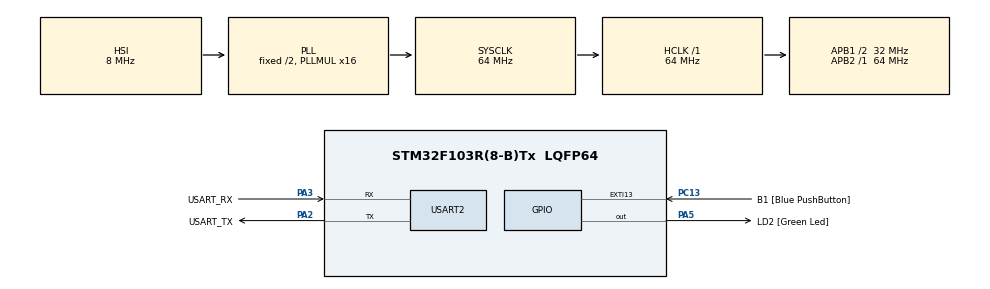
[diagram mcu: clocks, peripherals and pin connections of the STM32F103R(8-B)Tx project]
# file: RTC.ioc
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Mcu.Family=STM32F1
Mcu.Name=STM32F103R(8-B)Tx
Mcu.Package=LQFP64
NVIC.PriorityGroup=NVIC_PRIORITYGROUP_4
NVIC.RTC_Alarm_IRQn=true\:0\:0\:false\:false\:true\:true\:true
PA13.GPIO_Label=TMS
PA13.Mode=Serial_Wire
PA13.Signal=SYS_JTMS-SWDIO
PA14.GPIO_Label=TCK
PA14.Mode=Serial_Wire
PA14.Signal=SYS_JTCK-SWCLK
PA2.GPIO_Label=USART_TX
PA2.GPIO_Mode=GPIO_MODE_AF_PP
PA2.GPIO_PuPd=GPIO_NOPULL
PA2.GPIO_Speed=GPIO_SPEED_FREQ_LOW
PA2.Mode=Asynchronous
PA2.Signal=USART2_TX
PA3.GPIO_Label=USART_RX
PA3.GPIO_Mode=GPIO_MODE_AF_PP
PA3.GPIO_PuPd=GPIO_NOPULL
PA3.GPIO_Speed=GPIO_SPEED_FREQ_LOW
PA3.Mode=Asynchronous
PA3.Signal=USART2_RX
PA5.GPIO_Label=LD2 [Green Led]
PA5.GPIO_ModeDefaultOutputPP=GPIO_MODE_OUTPUT_PP
PA5.GPIO_PuPd=GPIO_NOPULL
PA5.GPIO_Speed=GPIO_SPEED_FREQ_LOW
PA5.Signal=GPIO_Output
PB3.GPIO_Label=SWO
PB3.Signal=SYS_JTDO-TRACESWO
PC13-TAMPER-RTC.GPIO_Label=B1 [Blue PushButton]
PC13-TAMPER-RTC.GPIO_PuPd=GPIO_NOPULL
PC13-TAMPER-RTC.Signal=GPXTI13
PC14-OSC32_IN.Mode=LSE-External-Oscillator
PC14-OSC32_IN.Signal=RCC_OSC32_IN
PC15-OSC32_OUT.Mode=LSE-External-Oscillator
PC15-OSC32_OUT.Signal=RCC_OSC32_OUT
PD0-OSC_IN.Signal=RCC_OSC_IN
PD1-OSC_OUT.Signal=RCC_OSC_OUT
ProjectManager.HeapSize=0x200
ProjectManager.StackSize=0x400
ProjectManager.TargetToolchain=STM32CubeIDE
RCC.AHBFreq_Value=64000000
RCC.APB1CLKDivider=RCC_HCLK_DIV2
RCC.APB1Freq_Value=32000000
RCC.APB1TimFreq_Value=64000000
RCC.APB2Freq_Value=64000000
RCC.APB2TimFreq_Value=64000000
RCC.HCLKFreq_Value=64000000
RCC.PLLMUL=RCC_PLL_MUL16
RCC.RTCClockSelection=RCC_RTCCLKSOURCE_LSE
RCC.SYSCLKFreq_VALUE=64000000
RCC.SYSCLKSource=RCC_SYSCLKSOURCE_PLLCLK
RCC.USBFreq_Value=64000000
RTC.Date=22
RTC.Hours=0
RTC.Minutes=0
RTC.Month=RTC_MONTH_DECEMBER
RTC.WeekDay=RTC_WEEKDAY_TUESDAY
RTC.Year=20
USART2.VirtualMode=VM_ASYNC
VP_RTC_VS_RTC_Activate.Mode=RTC_Enabled
VP_RTC_VS_RTC_Calendar.Mode=RTC_Calendar
board=NUCLEO-F103RB

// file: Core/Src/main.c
/* USER CODE BEGIN Header */
/**
  ******************************************************************************
  * @file           : main.c
  * @brief          : Main program body
  ******************************************************************************
  * @attention
  *
  * <h2><center>&copy; Copyright (c) 2020 STMicroelectronics.
  * All rights reserved.</center></h2>
  *
  * This software component is licensed by ST under BSD 3-Clause license,
  * the "License"; You may not use this file except in compliance with the
  * License. You may obtain a copy of the License at:
  *                        opensource.org/licenses/BSD-3-Clause
  *
  ******************************************************************************
  */
/* USER CODE END Header */
#include "main.h"

/* USER CODE BEGIN Includes */
#include <stdio.h>
/* USER CODE END Includes */

/* USER CODE BEGIN PM */
#define RTC_BKP_DR1_VALUE   0x32F2
/* USER CODE END PM */

RTC_HandleTypeDef hrtc;

UART_HandleTypeDef huart2;

void SystemClock_Config(void);
static void MX_GPIO_Init(void);
static void MX_USART2_UART_Init(void);
static void MX_RTC_Init(void);
/* USER CODE BEGIN PFP */
/**
  * @brief  Configure RTC Alarm.
  * @param  None
  * @retval None
  */
static void
RTC_AlarmConfig (void)
{
  printf ("%s\n", __FUNCTION__);

  RTC_TimeTypeDef stimestructure;
  RTC_AlarmTypeDef salarmstructure;

  /*########## Configure the RTC Alarm peripheral ##########*/
  HAL_RTC_GetTime (&hrtc, &stimestructure, RTC_FORMAT_BIN);

  salarmstructure.Alarm = RTC_ALARM_A;
  salarmstructure.AlarmTime.Hours = stimestructure.Hours;
  salarmstructure.AlarmTime.Minutes = stimestructure.Minutes;
  salarmstructure.AlarmTime.Seconds = stimestructure.Seconds + 5;

  if (HAL_RTC_SetAlarm_IT (&hrtc, &salarmstructure, RTC_FORMAT_BIN) != HAL_OK)
    {
      /* Initialization Error */
      Error_Handler ();
    }

  HAL_NVIC_SetPriority (RTC_Alarm_IRQn, 0, 0);
  HAL_NVIC_EnableIRQ (RTC_Alarm_IRQn);
}

/**
  * @brief  Display the current date and time.
  * @param  showtime : pointer to buffer
  * @retval None
  */
static void
RTC_TimeShow (uint8_t *showtime)
{
  RTC_DateTypeDef sdatestructureget;
  RTC_TimeTypeDef stimestructureget;

  /* Get the RTC current Time */
  HAL_RTC_GetTime (&hrtc, &stimestructureget, RTC_FORMAT_BIN);
  /* Get the RTC current Date */
  HAL_RTC_GetDate (&hrtc, &sdatestructureget, RTC_FORMAT_BIN);
  /* Display time Format : hh:mm:ss */
  sprintf ((char*) showtime, "%04d-%02d-%02d %02d:%02d:%02d",
           sdatestructureget.Year + 2000, sdatestructureget.Month, sdatestructureget.Date,
           stimestructureget.Hours, stimestructureget.Minutes, stimestructureget.Seconds);
}
/* USER CODE END PFP */

/* USER CODE BEGIN 0 */
#ifdef __GNUC__
#define PUTCHAR_PROTOTYPE int __io_putchar(int ch)
#else
#define PUTCHAR_PROTOTYPE int fputc(int ch, FILE *f)
#endif /* __GNUC__ */

/**
  * @brief  Retargets the C library printf function to the USART.
  * @param  None
  * @retval None
  */
PUTCHAR_PROTOTYPE
{
  /* Place your implementation of fputc here */
  /* e.g. write a character to the UART2 and Loop until the end of transmission */
  if(ch == '\n')
    HAL_UART_Transmit(&huart2, (uint8_t *)"\r", 1, 0xFFFF);
  HAL_UART_Transmit(&huart2, (uint8_t *)&ch, 1, 0xFFFF);

  return ch;
}

/* USER CODE END 0 */

int main(void)
{

  /* MCU Configuration--------------------------------------------------------*/

  /* Reset of all peripherals, Initializes the Flash interface and the Systick. */
  HAL_Init();

  /* Configure the system clock */
  SystemClock_Config();

  /* Initialize all configured peripherals */
  MX_GPIO_Init();
  MX_USART2_UART_Init();
  MX_RTC_Init();
  /* USER CODE BEGIN 2 */
  printf ("NUCLEO_F103RB RTC P/G\n");
  printf ("SYSCLK Frequency = %d\n", HAL_RCC_GetSysClockFreq());
  printf ("HCLK   Frequency = %d\n", HAL_RCC_GetHCLKFreq());
  printf ("PCLK   Frequency = %d\n", HAL_RCC_GetPCLK1Freq());
  /* USER CODE END 2 */

  /* Infinite loop */
  /* USER CODE BEGIN WHILE */
  /* Check if the Power On Reset flag is set */
  if (__HAL_RCC_GET_FLAG(RCC_FLAG_PORRST) != RESET)
    {
      /* Power on reset occurred */
      printf("Power on reset occurred\n");
    }
  /* Check if Pin Reset flag is set */
  if (__HAL_RCC_GET_FLAG(RCC_FLAG_PINRST) != RESET)
    {
      /* External reset occurred */
      printf("External reset occurred\n");
    }
  /* Clear source Reset Flag */
  __HAL_RCC_CLEAR_RESET_FLAGS();

  /* Alarm Configuration */
  RTC_AlarmConfig();

  /* Buffer used for displaying Time */
  uint8_t aShowTime[50] = {0};

  while (1)
  {
      RTC_TimeShow(aShowTime);
      printf("%s\n", aShowTime);
    /* USER CODE END WHILE */

    /* USER CODE BEGIN 3 */
      HAL_Delay(1000);
      HAL_GPIO_TogglePin(LD2_GPIO_Port, LD2_Pin);
  }
  /* USER CODE END 3 */
}

void SystemClock_Config(void)
{
  RCC_OscInitTypeDef RCC_OscInitStruct = {0};
  RCC_ClkInitTypeDef RCC_ClkInitStruct = {0};
  RCC_PeriphCLKInitTypeDef PeriphClkInit = {0};

  /** Initializes the RCC Oscillators according to the specified parameters
  * in the RCC_OscInitTypeDef structure.
  */
  RCC_OscInitStruct.OscillatorType = RCC_OSCILLATORTYPE_HSI|RCC_OSCILLATORTYPE_LSE;
  RCC_OscInitStruct.LSEState = RCC_LSE_ON;
  RCC_OscInitStruct.HSIState = RCC_HSI_ON;
  RCC_OscInitStruct.HSICalibrationValue = RCC_HSICALIBRATION_DEFAULT;
  RCC_OscInitStruct.PLL.PLLState = RCC_PLL_ON;
  RCC_OscInitStruct.PLL.PLLSource = RCC_PLLSOURCE_HSI_DIV2;
  RCC_OscInitStruct.PLL.PLLMUL = RCC_PLL_MUL16;
  if (HAL_RCC_OscConfig(&RCC_OscInitStruct) != HAL_OK)
  {
    Error_Handler();
  }
  /** Initializes the CPU, AHB and APB buses clocks
  */
  RCC_ClkInitStruct.ClockType = RCC_CLOCKTYPE_HCLK|RCC_CLOCKTYPE_SYSCLK
                              |RCC_CLOCKTYPE_PCLK1|RCC_CLOCKTYPE_PCLK2;
  RCC_ClkInitStruct.SYSCLKSource = RCC_SYSCLKSOURCE_PLLCLK;
  RCC_ClkInitStruct.AHBCLKDivider = RCC_SYSCLK_DIV1;
  RCC_ClkInitStruct.APB1CLKDivider = RCC_HCLK_DIV2;
  RCC_ClkInitStruct.APB2CLKDivider = RCC_HCLK_DIV1;

  if (HAL_RCC_ClockConfig(&RCC_ClkInitStruct, FLASH_LATENCY_2) != HAL_OK)
  {
    Error_Handler();
  }
  PeriphClkInit.PeriphClockSelection = RCC_PERIPHCLK_RTC;
  PeriphClkInit.RTCClockSelection = RCC_RTCCLKSOURCE_LSE;
  if (HAL_RCCEx_PeriphCLKConfig(&PeriphClkInit) != HAL_OK)
  {
    Error_Handler();
  }
}

static void MX_RTC_Init(void)
{

  RTC_TimeTypeDef sTime = {0};
  RTC_DateTypeDef DateToUpdate = {0};

  /** Initialize RTC Only
  */
  hrtc.Instance = RTC;
  hrtc.Init.AsynchPrediv = RTC_AUTO_1_SECOND;
  hrtc.Init.OutPut = RTC_OUTPUTSOURCE_ALARM;
  if (HAL_RTC_Init(&hrtc) != HAL_OK)
  {
    Error_Handler();
  }

  /* USER CODE BEGIN Check_RTC_BKUP */
  if (HAL_RTCEx_BKUPRead(&hrtc, RTC_BKP_DR1) != RTC_BKP_DR1_VALUE)
    {
      printf("%s\n", __FUNCTION__);
      HAL_RTCEx_BKUPWrite(&hrtc, RTC_BKP_DR1, RTC_BKP_DR1_VALUE);
    }
  else
    return;

  /* USER CODE END Check_RTC_BKUP */

  /** Initialize RTC and set the Time and Date
  */
  sTime.Hours = 0x16;
  sTime.Minutes = 0x31;
  sTime.Seconds = 0x0;

  if (HAL_RTC_SetTime(&hrtc, &sTime, RTC_FORMAT_BCD) != HAL_OK)
  {
    Error_Handler();
  }
  DateToUpdate.WeekDay = RTC_WEEKDAY_TUESDAY;
  DateToUpdate.Month = RTC_MONTH_DECEMBER;
  DateToUpdate.Date = 0x22;
  DateToUpdate.Year = 0x20;

  if (HAL_RTC_SetDate(&hrtc, &DateToUpdate, RTC_FORMAT_BCD) != HAL_OK)
  {
    Error_Handler();
  }

}

static void MX_USART2_UART_Init(void)
{

  huart2.Instance = USART2;
  huart2.Init.BaudRate = 115200;
  huart2.Init.WordLength = UART_WORDLENGTH_8B;
  huart2.Init.StopBits = UART_STOPBITS_1;
  huart2.Init.Parity = UART_PARITY_NONE;
  huart2.Init.Mode = UART_MODE_TX_RX;
  huart2.Init.HwFlowCtl = UART_HWCONTROL_NONE;
  huart2.Init.OverSampling = UART_OVERSAMPLING_16;
  if (HAL_UART_Init(&huart2) != HAL_OK)
  {
    Error_Handler();
  }

}

static void MX_GPIO_Init(void)
{
  GPIO_InitTypeDef GPIO_InitStruct = {0};

  /* GPIO Ports Clock Enable */
  __HAL_RCC_GPIOC_CLK_ENABLE();
  __HAL_RCC_GPIOD_CLK_ENABLE();
  __HAL_RCC_GPIOA_CLK_ENABLE();
  __HAL_RCC_GPIOB_CLK_ENABLE();

  /*Configure GPIO pin Output Level */
  HAL_GPIO_WritePin(LD2_GPIO_Port, LD2_Pin, GPIO_PIN_RESET);

  /*Configure GPIO pin : B1_Pin */
  GPIO_InitStruct.Pin = B1_Pin;
  GPIO_InitStruct.Mode = GPIO_MODE_IT_RISING;
  GPIO_InitStruct.Pull = GPIO_NOPULL;
  HAL_GPIO_Init(B1_GPIO_Port, &GPIO_InitStruct);

  /*Configure GPIO pin : LD2_Pin */
  GPIO_InitStruct.Pin = LD2_Pin;
  GPIO_InitStruct.Mode = GPIO_MODE_OUTPUT_PP;
  GPIO_InitStruct.Pull = GPIO_NOPULL;
  GPIO_InitStruct.Speed = GPIO_SPEED_FREQ_LOW;
  HAL_GPIO_Init(LD2_GPIO_Port, &GPIO_InitStruct);

}

/* USER CODE BEGIN 4 */
void
HAL_RTC_AlarmAEventCallback (RTC_HandleTypeDef *hrtc)
{
  printf ("%s\n", __FUNCTION__);

  RTC_AlarmTypeDef sAlarm;
  RTC_TimeTypeDef sTime;

  HAL_RTC_GetTime (hrtc, &sTime, RTC_FORMAT_BIN);

  if (sTime.Minutes == 59)
    {
      sAlarm.AlarmTime.Hours = sTime.Hours + 1;
      sAlarm.AlarmTime.Minutes = 0x0;
      sAlarm.AlarmTime.Seconds = 0x0;
    }
  else
    {
      sAlarm.AlarmTime.Hours = sTime.Hours;
      sAlarm.AlarmTime.Minutes = sTime.Minutes + 1;
      sAlarm.AlarmTime.Seconds = 0x0;
    }

  sAlarm.Alarm = RTC_ALARM_A;
  if (HAL_RTC_SetAlarm_IT (hrtc, &sAlarm, RTC_FORMAT_BIN) != HAL_OK)
    {
      Error_Handler ();
    }
}
/* USER CODE END 4 */

void Error_Handler(void)
{
}

/************************ (C) COPYRIGHT STMicroelectronics *****END OF FILE****/
